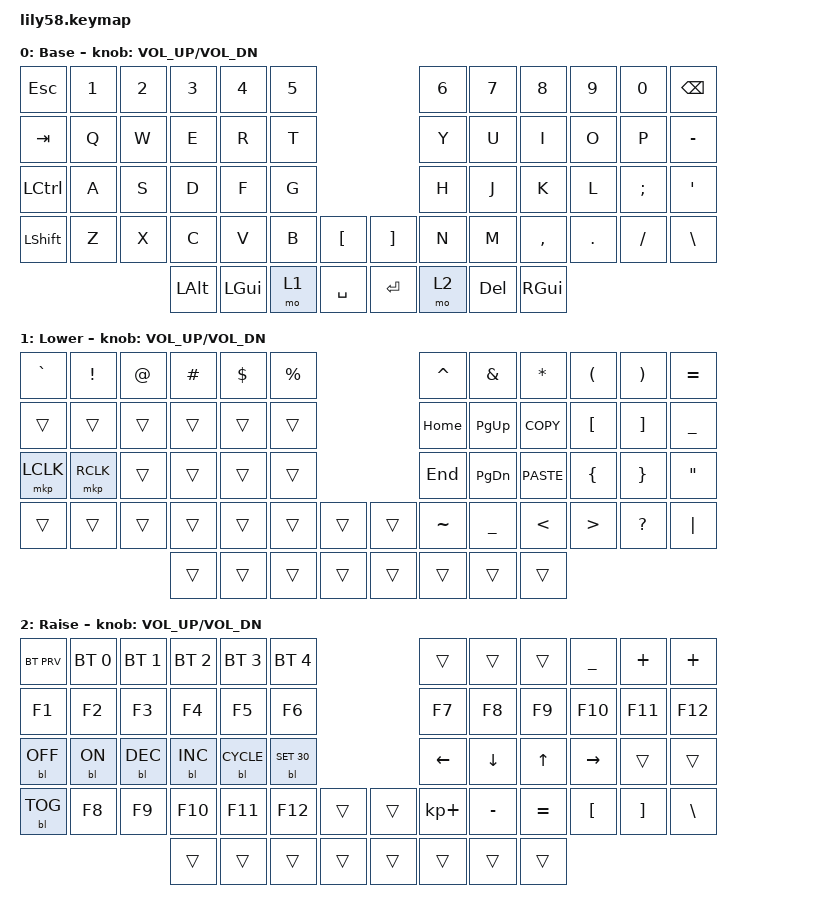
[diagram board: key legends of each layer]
/*
 * Copyright (c) 2020 The ZMK Contributors
 *
 * SPDX-License-Identifier: MIT
 */

#include <behaviors.dtsi>
#include <dt-bindings/zmk/backlight.h>
#include <dt-bindings/zmk/bt.h>
#include <dt-bindings/zmk/keys.h>
#include <dt-bindings/zmk/pointing.h>

/ {
    keymap {
        compatible = "zmk,keymap";

        default_layer {
            // ------------------------------------------------------------------------------------------------------------
            // |  ESC  |  1  |  2  |  3   |  4   |  5   |                   |  6   |  7    |  8    |  9   |   0   |   `   |
            // |  TAB  |  Q  |  W  |  E   |  R   |  T   |                   |  Y   |  U    |  I    |  O   |   P   |   -   |
            // |  CTRL |  A  |  S  |  D   |  F   |  G   |                   |  H   |  J    |  K    |  L   |   ;   |   '   |
            // | SHIFT |  Z  |  X  |  C   |  V   |  B   |   "["  |  |  "]"  |  N   |  M    |  ,    |  .   |   /   | SHIFT |
            //                     | ALT  | GUI  | LOWER|  SPACE |  | ENTER | RAISE| BSPC  | GUI   |

            display-name = "Base";
            bindings = <
&kp ESC    &kp N1  &kp N2  &kp N3    &kp N4    &kp N5                         &kp N6  &kp N7      &kp N8     &kp N9   &kp N0    &kp BACKSPACE
&kp TAB    &kp Q   &kp W   &kp E     &kp R     &kp T                          &kp Y   &kp U       &kp I      &kp O    &kp P     &kp MINUS
&kp LCTRL  &kp A   &kp S   &kp D     &kp F     &kp G                          &kp H   &kp J       &kp K      &kp L    &kp SEMI  &kp SQT
&kp LSHFT  &kp Z   &kp X   &kp C     &kp V     &kp B   &kp LBKT     &kp RBKT  &kp N   &kp M       &kp COMMA  &kp DOT  &kp FSLH  &kp BACKSLASH
                           &kp LALT  &kp LGUI  &mo 1   &kp SPACE    &kp RET   &mo 2   &kp DELETE  &kp RGUI
            >;

            sensor-bindings = <&inc_dec_kp C_VOL_UP C_VOL_DN>;
        };

        lower_layer {
            // ------------------------------------------------------------------------------------------------------------
            // | BTCLR | BT1 | BT2 |  BT3 |  BT4 |  BT5 |                   |      |       |       |      |       |       |
            // |  F1   |  F2 |  F3 |  F4  |  F5  |  F6  |                   |  F7  |  F8   |  F9   |  F10 |  F11  |  F12  |
            // |   `   |  !  |  @  |  #   |  $   |  %   |                   |  ^   |  &    |  *    |  (   |   )   |   ~   |
            // |       |     |     |      |      |      |        |  |       |      |  _    |  +    |  {   |   }   |  "|"  |
            //                     |      |      |      |        |  |       |      |       |       |

            display-name = "Lower";
            bindings = <
&kp GRAVE  &kp EXCL   &kp AT  &kp HASH  &kp DOLLAR  &kp PERCENT                    &kp CARET  &kp AMPS       &kp ASTRK      &kp LEFT_PARENTHESIS  &kp RIGHT_PARENTHESIS  &kp EQUAL
&trans     &trans     &trans  &trans    &trans      &trans                         &kp HOME   &kp PAGE_UP    &kp K_COPY     &kp LEFT_BRACKET      &kp RIGHT_BRACKET      &kp UNDER
&mkp LCLK  &mkp RCLK  &trans  &trans    &trans      &trans                         &kp END    &kp PAGE_DOWN  &kp K_PASTE    &kp LEFT_BRACE        &kp RIGHT_BRACE        &kp DOUBLE_QUOTES
&trans     &trans     &trans  &trans    &trans      &trans       &trans    &trans  &kp TILDE  &kp UNDER      &kp LESS_THAN  &kp GREATER_THAN      &kp QMARK              &kp PIPE
                              &trans    &trans      &trans       &trans    &trans  &trans     &trans         &trans
            >;

            sensor-bindings = <&inc_dec_kp C_VOL_UP C_VOL_DN>;
        };

        raise_layer {
            // ------------------------------------------------------------------------------------------------------------
            // |       |     |     |      |      |      |                   |      |       |       |      |       |       |
            // |   `   |  1  |  2  |  3   |  4   |  5   |                   |  6   |   7   |   8   |  9   |   0   |       |
            // |   F1  |  F2 |  F3 |  F4  |  F5  |  F6  |                   |      |   <-  |   v   |  ^   |  ->   |       |
            // |   F7  |  F8 |  F9 |  F10 |  F11 |  F12 |        |  |       |  +   |   -   |   =   |  [   |   ]   |   \   |
            //                     |      |      |      |        |  |       |      |       |       |

            display-name = "Raise";
            bindings = <
&bt BT_PRV  &bt BT_SEL 0  &bt BT_SEL 1  &bt BT_SEL 2  &bt BT_SEL 3  &bt BT_SEL 4                     &trans          &trans     &trans        &kp UNDER        &kp PLUS  &kp PLUS
&kp F1      &kp F2        &kp F3        &kp F4        &kp F5        &kp F6                           &kp F7          &kp F8     &kp F9        &kp F10          &kp F11   &kp F12
&bl BL_OFF  &bl BL_ON     &bl BL_DEC    &bl BL_INC    &bl BL_CYCLE  &bl BL_SET 30                    &kp LEFT_ARROW  &kp DOWN   &kp UP_ARROW  &kp RIGHT_ARROW  &trans    &trans
&bl BL_TOG  &kp F8        &kp F9        &kp F10       &kp F11       &kp F12        &trans    &trans  &kp KP_PLUS     &kp MINUS  &kp EQUAL     &kp LBKT         &kp RBKT  &kp BSLH
                                        &trans        &trans        &trans         &trans    &trans  &trans          &trans     &trans
            >;

            sensor-bindings = <&inc_dec_kp C_VOL_UP C_VOL_DN>;
        };

        extra_1 { status = "reserved"; };

        extra_2 { status = "reserved"; };

        extra_3 { status = "reserved"; };
    };
};
